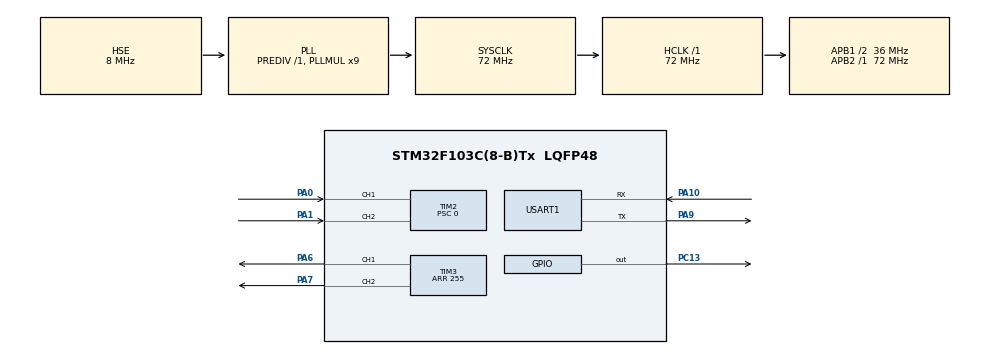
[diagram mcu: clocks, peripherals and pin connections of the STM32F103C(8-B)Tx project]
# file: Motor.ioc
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Mcu.Family=STM32F1
Mcu.Name=STM32F103C(8-B)Tx
Mcu.Package=LQFP48
NVIC.PriorityGroup=NVIC_PRIORITYGROUP_4
NVIC.TIM1_UP_IRQn=true\:0\:0\:false\:false\:true\:true\:true\:true
NVIC.TIM2_IRQn=true\:0\:0\:false\:false\:true\:true\:true\:true
PA0-WKUP.Signal=S_TIM2_CH1_ETR
PA1.Signal=S_TIM2_CH2
PA10.Mode=Asynchronous
PA10.Signal=USART1_RX
PA13.Mode=Trace_Asynchronous_SW
PA13.Signal=SYS_JTMS-SWDIO
PA14.Mode=Trace_Asynchronous_SW
PA14.Signal=SYS_JTCK-SWCLK
PA6.Signal=S_TIM3_CH1
PA7.Signal=S_TIM3_CH2
PA9.Mode=Asynchronous
PA9.Signal=USART1_TX
PB3.Mode=Trace_Asynchronous_SW
PB3.Signal=SYS_JTDO-TRACESWO
PC13-TAMPER-RTC.Signal=GPIO_Output
PD0-OSC_IN.Mode=HSE-External-Oscillator
PD0-OSC_IN.Signal=RCC_OSC_IN
PD1-OSC_OUT.Mode=HSE-External-Oscillator
PD1-OSC_OUT.Signal=RCC_OSC_OUT
ProjectManager.HeapSize=0x200
ProjectManager.StackSize=0x400
ProjectManager.TargetToolchain=MDK-ARM V5.32
RCC.AHBFreq_Value=72000000
RCC.APB1CLKDivider=RCC_HCLK_DIV2
RCC.APB1Freq_Value=36000000
RCC.APB1TimFreq_Value=72000000
RCC.APB2Freq_Value=72000000
RCC.APB2TimFreq_Value=72000000
RCC.HCLKFreq_Value=72000000
RCC.PLLMUL=RCC_PLL_MUL9
RCC.PLLSourceVirtual=RCC_PLLSOURCE_HSE
RCC.SYSCLKFreq_VALUE=72000000
RCC.SYSCLKSource=RCC_SYSCLKSOURCE_PLLCLK
RCC.USBFreq_Value=72000000
SH.S_TIM2_CH1_ETR.0=TIM2_CH1,Encoder_Interface
SH.S_TIM2_CH2.0=TIM2_CH2,Encoder_Interface
SH.S_TIM3_CH1.0=TIM3_CH1,PWM Generation1 CH1
SH.S_TIM3_CH2.0=TIM3_CH2,PWM Generation2 CH2
TIM1.AutoReloadPreload=TIM_AUTORELOAD_PRELOAD_DISABLE
TIM1.Period=8000
TIM1.Prescaler=89
TIM2.AutoReloadPreload=TIM_AUTORELOAD_PRELOAD_DISABLE
TIM2.EncoderMode=TIM_ENCODERMODE_TI12
TIM2.IC1Filter=15
TIM2.IC1Polarity=TIM_ICPOLARITY_FALLING
TIM2.IC2Filter=15
TIM2.IC2Polarity=TIM_ICPOLARITY_FALLING
TIM2.Period=65535
TIM2.Prescaler=0
TIM3.AutoReloadPreload=TIM_AUTORELOAD_PRELOAD_DISABLE
TIM3.Channel-PWM\ Generation1\ CH1=TIM_CHANNEL_1
TIM3.Channel-PWM\ Generation2\ CH2=TIM_CHANNEL_2
TIM3.Period=255
USART1.VirtualMode=VM_ASYNC
VP_TIM1_VS_ClockSourceINT.Mode=Internal
VP_TIM3_VS_ClockSourceINT.Mode=Internal
board=custom

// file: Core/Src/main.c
/* USER CODE BEGIN Header */
/**
  ******************************************************************************
  * @file           : main.c
  * @brief          : Main program body
  ******************************************************************************
  * @attention
  *
  * Copyright (c) 2024 STMicroelectronics.
  * All rights reserved.
  *
  * This software is licensed under terms that can be found in the LICENSE file
  * in the root directory of this software component.
  * If no LICENSE file comes with this software, it is provided AS-IS.
  *
  ******************************************************************************
  */
/* USER CODE END Header */
#include "main.h"
#include "tim.h"
#include "usart.h"
#include "gpio.h"

/* USER CODE BEGIN Includes */
#include <stdio.h>
#include "../../../BSP/motor.h"//马达控制库
#include "../../../BSP/const.h"//常数定义
/* USER CODE END Includes */

void SystemClock_Config(void);

/* USER CODE BEGIN 0 */
Motor_HandleTypeDef motor1;
uint32_t ms_ticker=0;
PID_Increasement_DT pidangle=PID_ANGLE;
PID_Increasement_DT pidspeed=PID_SPEED;
volatile int flag=0;
//下面是大作业要求实现的函数定义
void MotorSetPar()//初始化马达参数
{
	motor1.targetspeed=0;
	motor1.targetangle=0;
	motor1.encoder=&ENCODER;
	motor1.pwm1=&PWM_A;
	motor1.pwm1_channel=PWM_A_CHANNEL;
	motor1.pwm2=&PWM_B;
	motor1.pwm2_channel=PWM_B_CHANNEL;
	motor1.pid_angle=&pidangle;
	motor1.pid_speed=&pidspeed;
	motor1.MODE=WORKING_MODE;
}
void MotorStart(){Motor_Init(&motor1);}
void MotorStop(){Motor_DeInit(&motor1);}
void MotorSetSpeed(float speed){Motor_SetSpeed(&motor1,speed);}
void MotorSetAngle(float angle){Motor_SetAngle(&motor1,angle);}
void MotorSetMode(uint8_t MODE){Motor_SetMode(&motor1,MODE);}
/* USER CODE END 0 */

int main(void)
{

  /* MCU Configuration--------------------------------------------------------*/

  /* Reset of all peripherals, Initializes the Flash interface and the Systick. */
  HAL_Init();

  /* Configure the system clock */
  SystemClock_Config();

  /* Initialize all configured peripherals */
  MX_GPIO_Init();
  MX_TIM1_Init();
  MX_TIM2_Init();
  MX_TIM3_Init();
  MX_USART1_UART_Init();
  /* USER CODE BEGIN 2 */

	HAL_TIM_Base_Start_IT(&htim1);//启动10ms计时器
	HAL_TIM_Base_Start(&htim1);
	MotorSetPar();//设定参数
	MotorStart();//启动马达
	MotorSetAngle(180);
	MotorSetSpeed(225);
	flag=0;
	HAL_GPIO_WritePin(GPIOC,GPIO_PIN_13,GPIO_PIN_RESET);
  /* USER CODE END 2 */

  /* Infinite loop */
  while (1)
  {

    /* USER CODE BEGIN 3 */
		//HAL_GPIO_TogglePin(GPIOC,GPIO_PIN_13);
		if(flag){flag=0;Motor_TIM_IRQWorker(&motor1);}
		printf("%f\n",motor1.angle);
		if(ms_ticker>5000){ms_ticker=0;MotorSetAngle(motor1.targetangle+180);}//5s一转
  }
  /* USER CODE END 3 */
}

void SystemClock_Config(void)
{
  RCC_OscInitTypeDef RCC_OscInitStruct = {0};
  RCC_ClkInitTypeDef RCC_ClkInitStruct = {0};

  /** Initializes the RCC Oscillators according to the specified parameters
  * in the RCC_OscInitTypeDef structure.
  */
  RCC_OscInitStruct.OscillatorType = RCC_OSCILLATORTYPE_HSE;
  RCC_OscInitStruct.HSEState = RCC_HSE_ON;
  RCC_OscInitStruct.HSEPredivValue = RCC_HSE_PREDIV_DIV1;
  RCC_OscInitStruct.HSIState = RCC_HSI_ON;
  RCC_OscInitStruct.PLL.PLLState = RCC_PLL_ON;
  RCC_OscInitStruct.PLL.PLLSource = RCC_PLLSOURCE_HSE;
  RCC_OscInitStruct.PLL.PLLMUL = RCC_PLL_MUL9;
  if (HAL_RCC_OscConfig(&RCC_OscInitStruct) != HAL_OK)
  {
    Error_Handler();
  }

  /** Initializes the CPU, AHB and APB buses clocks
  */
  RCC_ClkInitStruct.ClockType = RCC_CLOCKTYPE_HCLK|RCC_CLOCKTYPE_SYSCLK
                              |RCC_CLOCKTYPE_PCLK1|RCC_CLOCKTYPE_PCLK2;
  RCC_ClkInitStruct.SYSCLKSource = RCC_SYSCLKSOURCE_PLLCLK;
  RCC_ClkInitStruct.AHBCLKDivider = RCC_SYSCLK_DIV1;
  RCC_ClkInitStruct.APB1CLKDivider = RCC_HCLK_DIV2;
  RCC_ClkInitStruct.APB2CLKDivider = RCC_HCLK_DIV1;

  if (HAL_RCC_ClockConfig(&RCC_ClkInitStruct, FLASH_LATENCY_2) != HAL_OK)
  {
    Error_Handler();
  }
}

/* USER CODE BEGIN 4 */
void HAL_TIM_PeriodElapsedCallback(TIM_HandleTypeDef *htim)
{
	if (htim == &htim2){}
  else if (htim == &htim1){
		if(flag)HAL_GPIO_WritePin(GPIOC,GPIO_PIN_13,GPIO_PIN_SET);//如果Motor_TIM_IRQWorker执行超过10ms 指示灯熄灭
		flag=1;//csdn里一旦中断卡顿，程序卡死，这么写可以根据指示灯调节中断周期
		ms_ticker+=10;//实现延时
	}
}
uint8_t ch,ch_r;
int fputc(int c, FILE * f){
  ch=c;
  HAL_UART_Transmit(&huart1,&ch,1,0xffff);
  return c;
}
int fgetc(FILE * F){
  HAL_UART_Receive(&huart1,&ch_r,1,0xffff);
  return ch_r;
}
/* USER CODE END 4 */

void Error_Handler(void)
{
  /* USER CODE BEGIN Error_Handler_Debug */
  /* User can add his own implementation to report the HAL error return state */
  __disable_irq();
  while (1)
  {
		HAL_GPIO_WritePin(GPIOC,GPIO_PIN_13,GPIO_PIN_SET);
  }
  /* USER CODE END Error_Handler_Debug */
}
